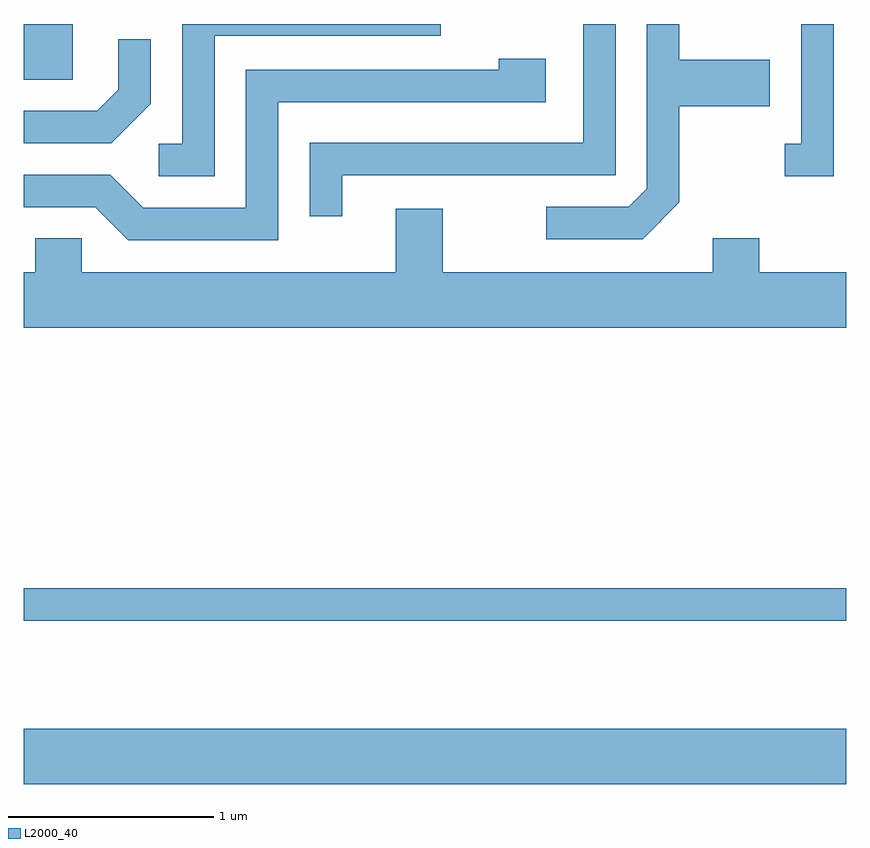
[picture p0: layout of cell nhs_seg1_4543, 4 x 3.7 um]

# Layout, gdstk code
import gdstk
lib = gdstk.Library(unit=1e-6, precision=1e-09)
def R(c, l, rs):  # rectangles x0, y0, x1, y1
    for r in rs: c.add(gdstk.rectangle(r[:2], r[2:], *l))
def P(c, l, *ps):  # polygons
    for p in ps: c.add(gdstk.Polygon(p, *l))
L2000_40 = (2000, 40)

nhs_seg1_4543 = lib.new_cell('nhs_seg1_4543')
R(nhs_seg1_4543, L2000_40, [(321.611,904.016,325.611,904.284), (321.611,904.811,325.611,904.969), (321.611,907.441,321.849,907.712)])
P(nhs_seg1_4543, L2000_40, [(325.549,907.712),(325.391,907.712),(325.391,907.129),(325.313,907.129),(325.313,906.971),(325.549,906.971)],
  [(323.159,906.976),(324.489,906.976),(324.489,907.712),(324.331,907.712),(324.331,907.134),(323.001,907.134),(323.001,906.778),(323.159,906.778)],
  [(322.539,907.656),(323.638,907.656),(323.638,907.712),(322.381,907.712),(322.381,907.129),(322.268,907.129),(322.268,906.971),(322.539,906.971)],
  [(324.799,906.844),(324.799,907.311),(325.239,907.311),(325.239,907.539),(324.799,907.539),(324.799,907.712),(324.641,907.712),(324.641,906.912),(324.554,906.824),(324.153,906.824),(324.153,906.666),(324.622,906.666)],
  [(322.229,907.324),(322.229,907.638),(322.071,907.638),(322.071,907.392),(321.969,907.289),(321.611,907.289),(321.611,907.131),(322.037,907.131)],
  [(322.849,907.331),(324.149,907.331),(324.149,907.544),(323.921,907.544),(323.921,907.489),(322.691,907.489),(322.691,906.819),(322.192,906.819),(322.032,906.979),(321.611,906.979),(321.611,906.821),(321.959,906.821),(322.119,906.661),(322.849,906.661)],
  [(325.611,906.504),(325.189,906.504),(325.189,906.669),(324.961,906.669),(324.961,906.504),(323.649,906.504),(323.649,906.814),(323.421,906.814),(323.421,906.504),(321.894,906.504),(321.894,906.669),(321.666,906.669),(321.666,906.504),(321.611,906.504),(321.611,906.236),(325.611,906.236)])

lib.write_gds('nhs_seg1_4543.gds')
